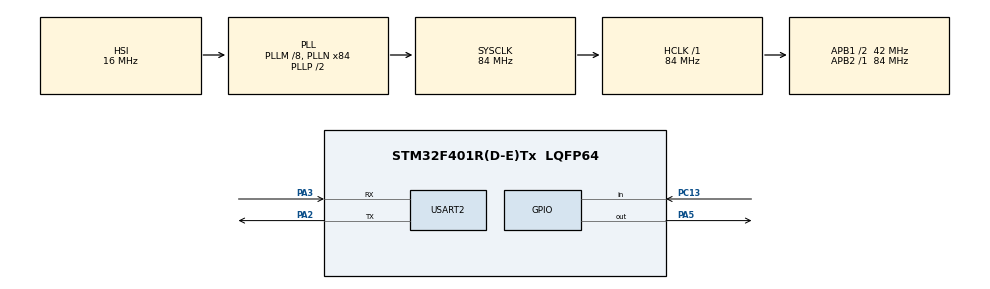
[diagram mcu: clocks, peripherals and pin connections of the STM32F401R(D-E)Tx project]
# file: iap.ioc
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Mcu.Family=STM32F4
Mcu.Name=STM32F401R(D-E)Tx
Mcu.Package=LQFP64
NVIC.PriorityGroup=NVIC_PRIORITYGROUP_4
PA2.Mode=Asynchronous
PA2.Signal=USART2_TX
PA3.Mode=Asynchronous
PA3.Signal=USART2_RX
PA5.Signal=GPIO_Output
PC13-ANTI_TAMP.Signal=GPIO_Input
ProjectManager.HeapSize=0x200
ProjectManager.StackSize=0x400
ProjectManager.TargetToolchain=STM32CubeIDE
RCC.48MHZClocksFreq_Value=42000000
RCC.AHBFreq_Value=84000000
RCC.APB1CLKDivider=RCC_HCLK_DIV2
RCC.APB1Freq_Value=42000000
RCC.APB1TimFreq_Value=84000000
RCC.APB2Freq_Value=84000000
RCC.APB2TimFreq_Value=84000000
RCC.CortexFreq_Value=84000000
RCC.HCLKFreq_Value=84000000
RCC.HSE_VALUE=25000000
RCC.HSI_VALUE=16000000
RCC.LSE_VALUE=32768
RCC.PLLM=8
RCC.PLLN=84
RCC.SYSCLKFreq_VALUE=84000000
RCC.SYSCLKSource=RCC_SYSCLKSOURCE_PLLCLK
RCC.VCOOutputFreq_Value=168000000
USART2.VirtualMode=VM_ASYNC
board=custom

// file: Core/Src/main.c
/* USER CODE BEGIN Header */
/**
  ******************************************************************************
  * @file           : main.c
  * @brief          : Main program body
  ******************************************************************************
  * @attention
  *
  * <h2><center>&copy; Copyright (c) 2020 STMicroelectronics.
  * All rights reserved.</center></h2>
  *
  * This software component is licensed by ST under BSD 3-Clause license,
  * the "License"; You may not use this file except in compliance with the
  * License. You may obtain a copy of the License at:
  *                        opensource.org/licenses/BSD-3-Clause
  *
  ******************************************************************************
  */
/* USER CODE END Header */
#include "main.h"

/* USER CODE BEGIN Includes */
#include "ymodem.h"
#include <string.h>
/* USER CODE END Includes */

/* USER CODE BEGIN PTD */
typedef void (*FUNCPTR)(void);
/* USER CODE END PTD */

UART_HandleTypeDef huart2;

/* USER CODE BEGIN PV */
uint8_t start[] = "Start YMODEM Transfer\n";
uint8_t tab_1024[1024];
/* USER CODE END PV */

void SystemClock_Config(void);
static void MX_GPIO_Init(void);
static void MX_USART2_UART_Init(void);

int main(void)
{
  /* USER CODE BEGIN 1 */
	FUNCPTR fp;
	uint32_t pc;
  /* USER CODE END 1 */

  /* MCU Configuration--------------------------------------------------------*/

  /* Reset of all peripherals, Initializes the Flash interface and the Systick. */
  HAL_Init();

  /* Configure the system clock */
  SystemClock_Config();

  /* Initialize all configured peripherals */
  MX_GPIO_Init();
  MX_USART2_UART_Init();
  /* USER CODE BEGIN 2 */
  if (HAL_GPIO_ReadPin(GPIOC, GPIO_PIN_13) == GPIO_PIN_RESET) {
	  // Start IAP
	  // Enable FLASH Write
	  if (HAL_FLASH_Unlock() != HAL_OK) {
		  goto BLINK;
	  }
	  // Display message
	  HAL_UART_Transmit(&huart2, start, strlen((const char *)start), 1000);
	  // Start YMODEM receive
	  Ymodem_Receive(tab_1024);
	  // Disable FLASH Write
	  HAL_FLASH_Lock();
  } else {
	  // Jump Normal Application
	  __disable_irq();
      pc = *(__IO uint32_t*) (APPADDR + 4);
      fp = (FUNCPTR)pc;
      /* Initialize user application's Stack Pointer */
      __set_MSP(*(__IO uint32_t*) APPADDR);
      // Change VTOR
      SCB->VTOR = APPADDR;
      fp();
      // Normal Application should enable interrupt at first line in main()
  }
BLINK:
  /* USER CODE END 2 */

  /* Infinite loop */
  while (1)
  {

    /* USER CODE BEGIN 3 */
	  HAL_GPIO_TogglePin(GPIOA, GPIO_PIN_5);
	  HAL_Delay(300);
  }
  /* USER CODE END 3 */
}

void SystemClock_Config(void)
{
  RCC_OscInitTypeDef RCC_OscInitStruct = {0};
  RCC_ClkInitTypeDef RCC_ClkInitStruct = {0};

  /** Configure the main internal regulator output voltage
  */
  __HAL_RCC_PWR_CLK_ENABLE();
  __HAL_PWR_VOLTAGESCALING_CONFIG(PWR_REGULATOR_VOLTAGE_SCALE2);
  /** Initializes the RCC Oscillators according to the specified parameters
  * in the RCC_OscInitTypeDef structure.
  */
  RCC_OscInitStruct.OscillatorType = RCC_OSCILLATORTYPE_HSI;
  RCC_OscInitStruct.HSIState = RCC_HSI_ON;
  RCC_OscInitStruct.HSICalibrationValue = RCC_HSICALIBRATION_DEFAULT;
  RCC_OscInitStruct.PLL.PLLState = RCC_PLL_ON;
  RCC_OscInitStruct.PLL.PLLSource = RCC_PLLSOURCE_HSI;
  RCC_OscInitStruct.PLL.PLLM = 8;
  RCC_OscInitStruct.PLL.PLLN = 84;
  RCC_OscInitStruct.PLL.PLLP = RCC_PLLP_DIV2;
  RCC_OscInitStruct.PLL.PLLQ = 4;
  if (HAL_RCC_OscConfig(&RCC_OscInitStruct) != HAL_OK)
  {
    Error_Handler();
  }
  /** Initializes the CPU, AHB and APB buses clocks
  */
  RCC_ClkInitStruct.ClockType = RCC_CLOCKTYPE_HCLK|RCC_CLOCKTYPE_SYSCLK
                              |RCC_CLOCKTYPE_PCLK1|RCC_CLOCKTYPE_PCLK2;
  RCC_ClkInitStruct.SYSCLKSource = RCC_SYSCLKSOURCE_PLLCLK;
  RCC_ClkInitStruct.AHBCLKDivider = RCC_SYSCLK_DIV1;
  RCC_ClkInitStruct.APB1CLKDivider = RCC_HCLK_DIV2;
  RCC_ClkInitStruct.APB2CLKDivider = RCC_HCLK_DIV1;

  if (HAL_RCC_ClockConfig(&RCC_ClkInitStruct, FLASH_LATENCY_2) != HAL_OK)
  {
    Error_Handler();
  }
}

static void MX_USART2_UART_Init(void)
{

  huart2.Instance = USART2;
  huart2.Init.BaudRate = 115200;
  huart2.Init.WordLength = UART_WORDLENGTH_8B;
  huart2.Init.StopBits = UART_STOPBITS_1;
  huart2.Init.Parity = UART_PARITY_NONE;
  huart2.Init.Mode = UART_MODE_TX_RX;
  huart2.Init.HwFlowCtl = UART_HWCONTROL_NONE;
  huart2.Init.OverSampling = UART_OVERSAMPLING_16;
  if (HAL_UART_Init(&huart2) != HAL_OK)
  {
    Error_Handler();
  }

}

static void MX_GPIO_Init(void)
{
  GPIO_InitTypeDef GPIO_InitStruct = {0};

  /* GPIO Ports Clock Enable */
  __HAL_RCC_GPIOC_CLK_ENABLE();
  __HAL_RCC_GPIOA_CLK_ENABLE();

  /*Configure GPIO pin Output Level */
  HAL_GPIO_WritePin(GPIOA, GPIO_PIN_5, GPIO_PIN_RESET);

  /*Configure GPIO pin : PC13 */
  GPIO_InitStruct.Pin = GPIO_PIN_13;
  GPIO_InitStruct.Mode = GPIO_MODE_INPUT;
  GPIO_InitStruct.Pull = GPIO_NOPULL;
  HAL_GPIO_Init(GPIOC, &GPIO_InitStruct);

  /*Configure GPIO pin : PA5 */
  GPIO_InitStruct.Pin = GPIO_PIN_5;
  GPIO_InitStruct.Mode = GPIO_MODE_OUTPUT_PP;
  GPIO_InitStruct.Pull = GPIO_NOPULL;
  GPIO_InitStruct.Speed = GPIO_SPEED_FREQ_LOW;
  HAL_GPIO_Init(GPIOA, &GPIO_InitStruct);

}

void Error_Handler(void)
{
}

/************************ (C) COPYRIGHT STMicroelectronics *****END OF FILE****/
